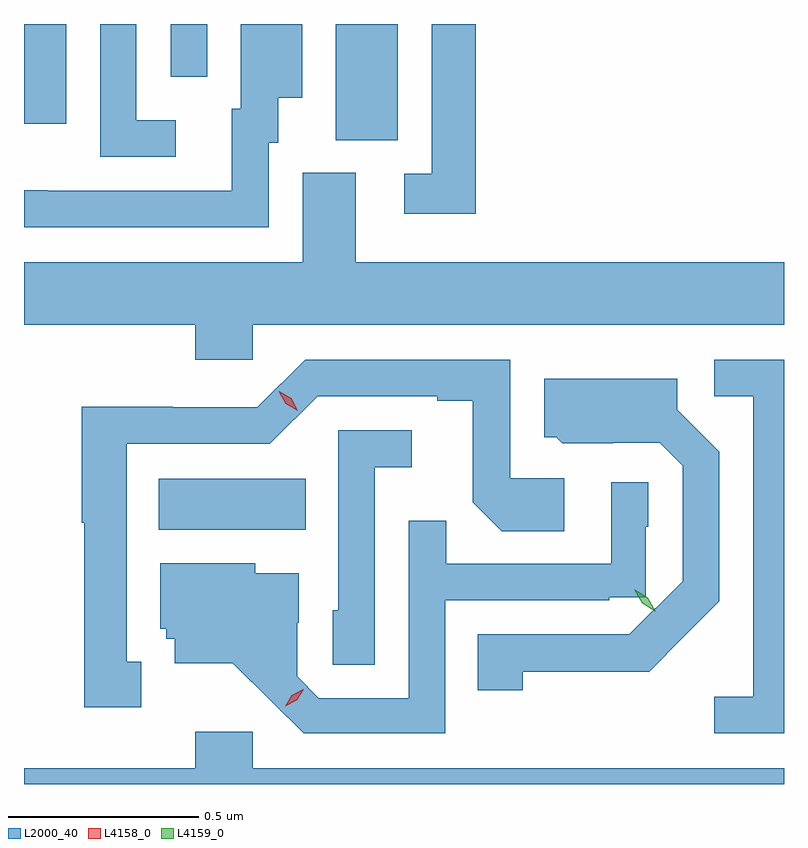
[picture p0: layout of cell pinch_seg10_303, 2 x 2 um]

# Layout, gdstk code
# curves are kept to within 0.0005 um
import gdstk
lib = gdstk.Library(unit=1e-6, precision=1e-09)
def R(c, l, rs):  # rectangles x0, y0, x1, y1
    for r in rs: c.add(gdstk.rectangle(r[:2], r[2:], *l))
def P(c, l, *ps):  # polygons
    for p in ps: c.add(gdstk.Polygon(p, *l))
L2000_40 = (2000, 40)
L4158_0 = (4158, 0)
L4159_0 = (4159, 0)

pinch_seg10_303 = lib.new_cell('pinch_seg10_303')
R(pinch_seg10_303, L2000_40, [(497.231,1309.1,497.618,1309.234), (497.696,1310.125,497.86,1310.431), (496.876,1310.169,496.987,1310.431), (497.262,1310.292,497.358,1310.431)])
P(pinch_seg10_303, L2000_40, [(497.275,1310.178),(497.172,1310.178),(497.172,1310.431),(497.076,1310.431),(497.076,1310.082),(497.275,1310.082)],
  [(498.065,1310.431),(497.949,1310.431),(497.949,1310.037),(497.877,1310.037),(497.877,1309.932),(498.065,1309.932)],
  [(497.52,1310.118),(497.545,1310.118),(497.545,1310.237),(497.608,1310.237),(497.608,1310.431),(497.447,1310.431),(497.447,1310.208),(497.423,1310.208),(497.423,1309.992),(496.939,1309.992),(496.939,1309.993),(496.876,1309.993),(496.876,1309.896),(497.52,1309.896)],
  [(497.478,1309.64),(498.876,1309.64),(498.876,1309.804),(497.749,1309.804),(497.749,1310.04),(497.609,1310.04),(497.609,1309.804),(496.876,1309.804),(496.876,1309.64),(497.327,1309.64),(497.327,1309.547),(497.478,1309.547)],
  [(497.185,1308.753),(497.146,1308.753),(497.146,1309.326),(497.523,1309.326),(497.649,1309.452),(497.963,1309.452),(497.963,1309.44),(498.057,1309.44),(498.057,1309.172),(498.133,1309.096),(498.298,1309.096),(498.298,1309.236),(498.156,1309.236),(498.156,1309.548),(497.616,1309.548),(497.49,1309.422),(497.268,1309.422),(497.268,1309.424),(497.028,1309.424),(497.028,1309.119),(497.035,1309.119),(497.035,1308.633),(497.185,1308.633)],
  [(498.876,1309.548),(498.693,1309.548),(498.693,1309.452),(498.795,1309.452),(498.795,1308.661),(498.693,1308.661),(498.693,1308.564),(498.876,1308.564)],
  [(498.189,1308.727),(498.521,1308.727),(498.705,1308.912),(498.705,1309.306),(498.595,1309.416),(498.595,1309.498),(498.245,1309.498),(498.245,1309.344),(498.276,1309.344),(498.292,1309.328),(498.426,1309.328),(498.426,1309.329),(498.549,1309.329),(498.609,1309.269),(498.609,1308.965),(498.469,1308.825),(498.07,1308.825),(498.07,1308.678),(498.189,1308.678)],
  [(497.799,1309.265),(497.896,1309.265),(497.896,1309.362),(497.703,1309.362),(497.703,1308.888),(497.688,1308.888),(497.688,1308.745),(497.799,1308.745)],
  [(497.985,1308.915),(498.416,1308.915),(498.416,1308.923),(498.512,1308.923),(498.512,1309.108),(498.519,1309.108),(498.519,1309.225),(498.422,1309.225),(498.422,1309.011),(497.987,1309.011),(497.987,1309.124),(497.889,1309.124),(497.889,1308.657),(497.652,1308.657),(497.595,1308.714),(497.595,1308.856),(497.599,1308.856),(497.599,1308.985),(497.484,1308.985),(497.484,1309.012),(497.234,1309.012),(497.234,1308.84),(497.25,1308.84),(497.25,1308.813),(497.273,1308.813),(497.273,1308.749),(497.425,1308.749),(497.612,1308.564),(497.985,1308.564)],
  [(498.876,1308.472),(497.478,1308.472),(497.478,1308.568),(497.327,1308.568),(497.327,1308.472),(496.876,1308.472),(496.876,1308.431),(498.876,1308.431)])
P(pinch_seg10_303, L4158_0, [(497.564,1308.636),(497.564,1308.636),(497.581,1308.665),(497.611,1308.681),(497.612,1308.681),(497.612,1308.68),(497.594,1308.651),(497.564,1308.636)],
  [(497.597,1309.413),(497.565,1309.432),(497.547,1309.464),(497.547,1309.465),(497.548,1309.465),(497.579,1309.446),(497.597,1309.413),(497.597,1309.413)])
P(pinch_seg10_303, L4159_0, [(498.538,1308.884),(498.503,1308.907),(498.482,1308.944),(498.482,1308.944),(498.482,1308.944),(498.517,1308.921),(498.538,1308.884),(498.538,1308.884)])

lib.write_gds('pinch_seg10_303.gds')
